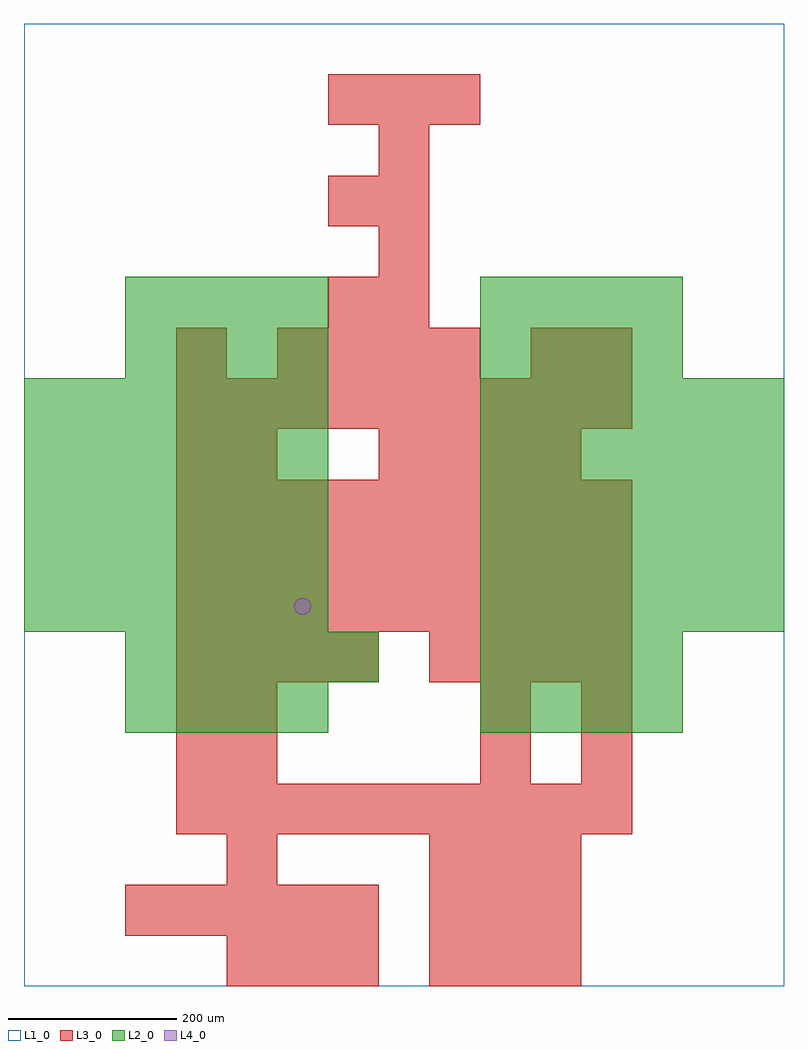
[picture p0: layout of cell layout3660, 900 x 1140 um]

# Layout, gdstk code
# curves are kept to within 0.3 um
import gdstk
lib = gdstk.Library(unit=1e-6, precision=1e-09)
def R(c, l, rs):  # rectangles x0, y0, x1, y1
    for r in rs: c.add(gdstk.rectangle(r[:2], r[2:], *l))
def A(c, l, x, y, w, h, nx, ny, dx, dy):  # array of equal rectangles
    R(c, l, [(x+i*dx, y+j*dy, x+i*dx+w, y+j*dy+h) for i in range(nx) for j in range(ny)])
def P(c, l, *ps):  # polygons
    for p in ps: c.add(gdstk.Polygon(p, *l))
L1_0 = (1, 0)
L2_0 = (2, 0)
L3_0 = (3, 0)
L4_0 = (4, 0)

layout3660 = lib.new_cell('layout3660')
R(layout3660, L1_0, [(0,0,900,1140)])
A(layout3660, L2_0, 120, 300, 60, 60, 4, 2, 60, 420)
A(layout3660, L2_0, 540, 300, 60, 60, 4, 2, 60, 60)
A(layout3660, L2_0, 120, 360, 60, 60, 5, 1, 60, 0)
A(layout3660, L2_0, 0, 420, 60, 60, 6, 5, 60, 60)
A(layout3660, L2_0, 540, 420, 60, 60, 6, 5, 60, 60)
A(layout3660, L2_0, 540, 720, 60, 60, 4, 2, 60, 60)
A(layout3660, L2_0, 120, 780, 60, 60, 4, 1, 60, 0)
A(layout3660, L3_0, 240, 0, 60, 60, 3, 1, 60, 0)
A(layout3660, L3_0, 480, 0, 60, 60, 3, 3, 60, 60)
A(layout3660, L3_0, 120, 60, 60, 60, 5, 1, 60, 0)
A(layout3660, L3_0, 180, 180, 60, 60, 9, 2, 60, 240)
A(layout3660, L3_0, 180, 360, 60, 60, 4, 1, 60, 0)
A(layout3660, L3_0, 480, 360, 60, 60, 4, 1, 60, 0)
A(layout3660, L3_0, 180, 480, 60, 60, 9, 2, 60, 60)
A(layout3660, L3_0, 420, 600, 60, 60, 4, 1, 60, 0)
A(layout3660, L3_0, 180, 660, 60, 60, 9, 1, 60, 0)
A(layout3660, L3_0, 300, 720, 60, 60, 4, 1, 60, 0)
A(layout3660, L3_0, 420, 780, 60, 60, 1, 4, 0, 60)
A(layout3660, L3_0, 360, 1020, 60, 60, 3, 1, 60, 0)
R(layout3660, L3_0, [(240,120,300,180), (180,240,240,300), (240,240,300,300), (540,240,600,300), (660,240,720,300), (180,300,240,360), (240,300,300,360), (540,300,600,360), (660,300,720,360), (180,600,240,660), (240,600,300,660), (180,720,240,780), (600,720,660,780), (660,720,720,780), (360,780,420,840), (360,900,420,960)])
P(layout3660, L4_0, [(340,450),(339.239,453.827),(337.071,457.071),(333.827,459.239),(330,460),(326.173,459.239),(322.929,457.071),(320.761,453.827),(320,450),(320.761,446.173),(322.929,442.929),(326.173,440.761),(330,440),(333.827,440.761),(337.071,442.929),(339.239,446.173)])

lib.write_gds('layout3660.gds')
